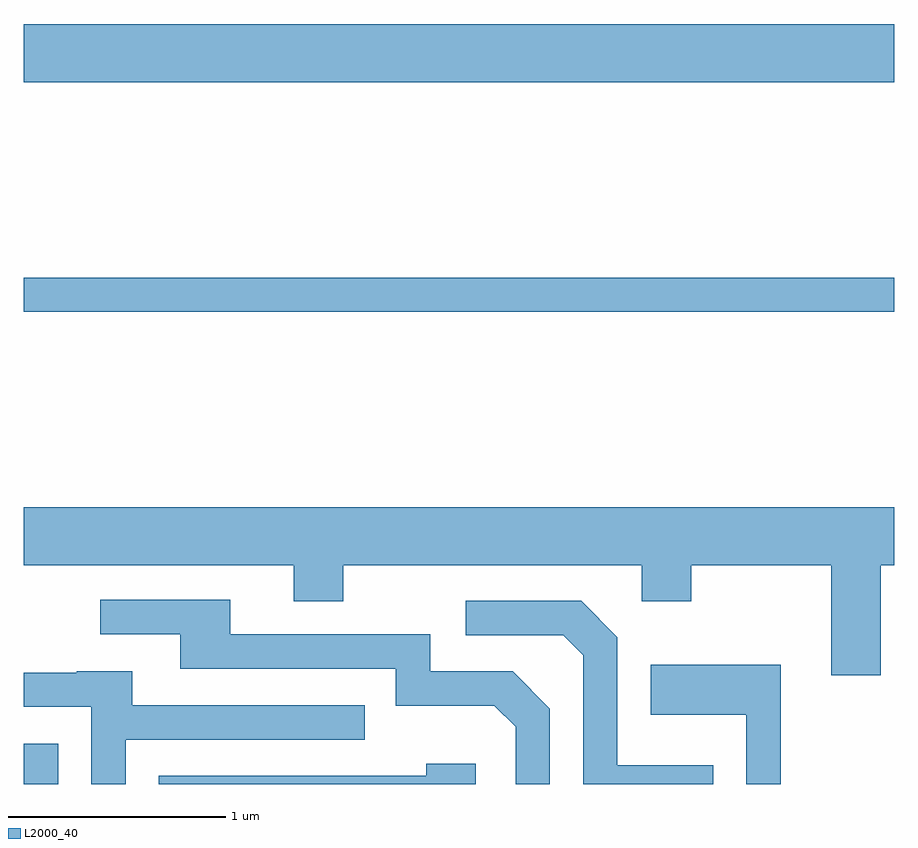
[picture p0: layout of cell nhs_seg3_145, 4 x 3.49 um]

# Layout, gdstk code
import gdstk
lib = gdstk.Library(unit=1e-6, precision=1e-09)
def R(c, l, rs):  # rectangles x0, y0, x1, y1
    for r in rs: c.add(gdstk.rectangle(r[:2], r[2:], *l))
def P(c, l, *ps):  # polygons
    for p in ps: c.add(gdstk.Polygon(p, *l))
L2000_40 = (2000, 40)

nhs_seg3_145 = lib.new_cell('nhs_seg3_145')
R(nhs_seg3_145, L2000_40, [(189.611,1133.892,189.769,1134.078), (189.611,1136.061,193.611,1136.219), (189.611,1137.116,193.611,1137.384)])
P(nhs_seg3_145, L2000_40, [(193.549,1134.896),(193.611,1134.896),(193.611,1135.164),(189.611,1135.164),(189.611,1134.896),(190.851,1134.896),(190.851,1134.731),(191.079,1134.731),(191.079,1134.896),(192.451,1134.896),(192.451,1134.731),(192.679,1134.731),(192.679,1134.896),(193.321,1134.896),(193.321,1134.391),(193.549,1134.391)],
  [(192.029,1134.237),(191.857,1134.409),(191.479,1134.409),(191.479,1134.579),(190.559,1134.579),(190.559,1134.739),(189.963,1134.739),(189.963,1134.581),(190.331,1134.581),(190.331,1134.421),(191.321,1134.421),(191.321,1134.251),(191.774,1134.251),(191.871,1134.154),(191.871,1133.892),(192.029,1133.892)],
  [(192.779,1133.979),(192.339,1133.979),(192.339,1134.567),(192.172,1134.734),(191.643,1134.734),(191.643,1134.576),(192.089,1134.576),(192.181,1134.484),(192.181,1133.892),(192.779,1133.892)],
  [(193.089,1134.439),(192.491,1134.439),(192.491,1134.211),(192.931,1134.211),(192.931,1133.892),(193.089,1133.892)],
  [(190.079,1134.096),(191.178,1134.096),(191.178,1134.254),(190.109,1134.254),(190.109,1134.409),(189.855,1134.409),(189.855,1134.404),(189.611,1134.404),(189.611,1134.246),(189.921,1134.246),(189.921,1133.892),(190.079,1133.892)],
  [(191.689,1133.984),(191.461,1133.984),(191.461,1133.929),(190.231,1133.929),(190.231,1133.892),(191.689,1133.892)])

lib.write_gds('nhs_seg3_145.gds')
